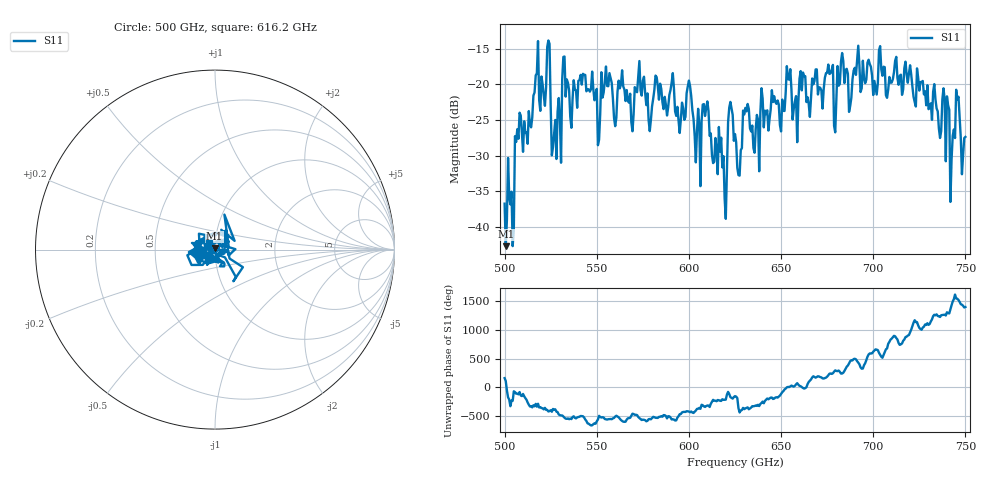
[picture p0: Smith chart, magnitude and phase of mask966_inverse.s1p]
!Created with skrf (http://scikit-rf.org).
# GHz S MA R 50.0
!freq magS11 angS11
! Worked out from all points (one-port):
!   401 points, 500 GHz to 750 GHz, reference 50 ohm
!   lowest |S11| = -42.7 dB at 500.6 GHz (marker M1), VSWR 1.01, Z = 49.7 + j0.679 ohm
!   |S11| at or under -10 dB: start of sweep to end of sweep
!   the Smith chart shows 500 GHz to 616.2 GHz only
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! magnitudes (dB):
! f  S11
! 500 GHz  -36.8
! 500.6 GHz  -42.7
! 503.8 GHz  -35.1
! 506.9 GHz  -26.3
! 513.8 GHz  -25.6
! 516.9 GHz  -18.7
! 523.8 GHz  -13.8
! 526.9 GHz  -26.8
! 531.2 GHz  -19.2
! 542.5 GHz  -18.5
! 550.6 GHz  -28.5
! 562.5 GHz  -20.5
! 590.6 GHz  -19.7
! 593.8 GHz  -23.1
! 600 GHz  -19.5
! 605 GHz  -23.4
! 609.4 GHz  -23.3
! 619.4 GHz  -36.0
! 622.5 GHz  -22.5
! 625 GHz  -27.0
! 656.2 GHz  -24.9
! 676.9 GHz  -18.4
! 680 GHz  -22.0
! 683.8 GHz  -16.7
! 687.5 GHz  -23.0
! 691.2 GHz  -16.6
! 718.8 GHz  -19.8
! 750 GHz  -27.4
